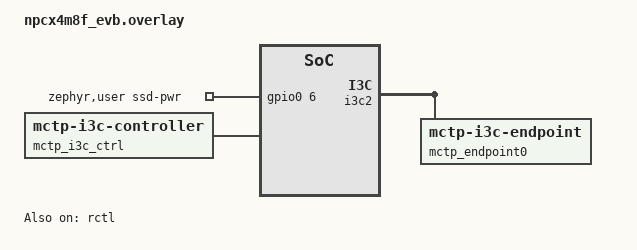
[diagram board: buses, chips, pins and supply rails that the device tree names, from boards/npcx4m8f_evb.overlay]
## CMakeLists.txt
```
cmake_minimum_required(VERSION 3.20.0)

find_package(Zephyr REQUIRED HINTS $ENV{ZEPHYR_BASE})
project(mctp_i3c_get_endpoint_id)

target_sources(app PRIVATE src/main.c)
target_sources(app PRIVATE src/mctp_ssd_power.c)
```

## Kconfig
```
# Copyright (c) 2026 Intel Corporation
# SPDX-License-Identifier: Apache-2.0

mainmenu "MCTP I3C bus discovery sample"

module = APP
module-str = app
source "subsys/logging/Kconfig.template.log_config"

source "Kconfig.zephyr"
```

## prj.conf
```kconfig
CONFIG_I3C=y
CONFIG_MCTP=y
CONFIG_MCTP_I3C_CONTROLLER=y

# Logging
CONFIG_LOG=y
CONFIG_APP_LOG_LEVEL_DBG=y
CONFIG_MCTP_LOG_LEVEL_DBG=y
CONFIG_LOG_BUFFER_SIZE=4096
```

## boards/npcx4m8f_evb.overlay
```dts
/*
 * Copyright (c) 2026 Intel Corporation
 *
 * SPDX-License-Identifier: Apache-2.0
 */

/ {
	aliases {
		ssd-i3c-bus = &i3c2;
		ssd-i3c-dev = &mctp_endpoint0;
	};

	zephyr,user {
		/* SSD power-enable GPIO (generic phandle, no LED binding needed) */
		ssd-pwr-gpios = <&gpio0 6 GPIO_ACTIVE_HIGH>;
	};

	mctp_i3c_ctrl: mctp_i3c_ctrl {
		compatible = "zephyr,mctp-i3c-controller";
		endpoints = <&mctp_endpoint0>;
		endpoint-ids = <11>; /* NVME_DEV_ENDPOINT_ID */
	};
};

&pcc {
	clock-frequency = <DT_FREQ_M(90)>; /* OFMCLK runs at 90MHz */
	core-prescaler = <3>; /* CORE_CLK runs at 30MHz */
	apb1-prescaler = <6>; /* APB1_CLK runs at 15MHz */
	apb2-prescaler = <6>; /* APB2_CLK runs at 15MHz */
	apb3-prescaler = <6>; /* APB3_CLK runs at 15MHz */
	apb4-prescaler = <3>; /* APB4_CLK runs at 30MHz */
};

&rctl {
	status = "okay";
};

&i3c2 {
	zephyr,deferred-init;
	status = "okay";
	i3c-scl-hz = <4000000>;
	i3c-od-scl-hz = <1330000>;
	pinctrl-0 = <&i3c3_sda_scl_gpf4_f5>;
	pinctrl-names = "default";

	bcr = <0x67>;

	mctp_endpoint0: mctp_endpoint0@d0fefff1fd10 {
		zephyr,deferred-init;
		compatible = "zephyr,mctp-i3c-endpoint";
		reg = <0x0 0x0000d0fe 0xfff1fd10>;
		status = "okay";
	};
};
```

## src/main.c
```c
/*
 * Copyright (c) 2026 Intel Corporation
 *
 * SPDX-License-Identifier: Apache-2.0
 */

#include <zephyr/kernel.h>
#include <zephyr/sys/printk.h>
#include <zephyr/logging/log.h>
#include <libmctp.h>
#include <libmctp-cmds.h>
#include <zephyr/pmci/mctp/mctp_i3c_controller.h>
#include <zephyr/logging/log.h>

#include "mctp_ssd_power.h"
LOG_MODULE_REGISTER(mctp_get_eid, CONFIG_APP_LOG_LEVEL);

#define MCTP_TAG_OWNER 1
#define MCTP_INSTANCE_ID 0

#define LINK_SETUP_DELAY_MS		500U
#define FSM_DELAY_MS			100U

/* How long the FSM waits for a response before advancing to the next state. */
#define MCTP_RESP_TIMEOUT_MS		1000U

/*
 * Get MCTP Version Support, "MCTP version number entry" selector.
 */
#define MCTP_GET_VERSION_BASE_SPEC	0xFF
#define MCTP_GET_VERSION_CONTROL	0x00
#define MCTP_GET_VERSION_PLDM		0x01

MCTP_I3C_CONTROLLER_DT_DEFINE(mctp_i3c_ctrl, DT_NODELABEL(mctp_i3c_ctrl));

static struct mctp *mctp_ctx;

/* Signalled by rx_message when the response the FSM is waiting for arrives. */
static K_SEM_DEFINE(resp_sem, 0, 1);

/* Control command code the FSM currently expects a response for. */
static uint8_t expected_cmd;

/* Get Version msg_type currently being queried (gives the response context). */
static uint8_t expected_version_msg_type;

/* Message types the endpoint advertised via Get Message Type Support. */
#define MAX_SUPPORTED_MSG_TYPES 16
static uint8_t supported_msg_types[MAX_SUPPORTED_MSG_TYPES];
static uint8_t num_supported_msg_types;

static bool msg_type_supported(uint8_t msg_type)
{
	for (uint8_t i = 0; i < num_supported_msg_types; i++) {
		if (supported_msg_types[i] == msg_type) {
			return true;
		}
	}
	return false;
}

/* Build the rq/d/inst byte for a new request, bumping the instance ID. */
static uint8_t next_rq_dgram_inst(void)
{
	static uint8_t instance_id;
	uint8_t rq_dgram_inst = MCTP_CTRL_HDR_FLAG_REQUEST |
		(instance_id & MCTP_CTRL_HDR_INSTANCE_ID_MASK);

	instance_id = (instance_id + 1U) & MCTP_CTRL_HDR_INSTANCE_ID_MASK;
	return rq_dgram_inst;
}

static void handle_get_endpoint_id_resp(uint8_t src_eid, const void *msg, size_t len)
{
	const struct mctp_ctrl_cmd_get_endpoint_id_resp *resp = msg;

	if (len < sizeof(*resp)) {
		LOG_ERR("Short Get Endpoint ID response from EID %u, len %zu",
			src_eid, len);
		return;
	}

	if (resp->completion_code != MCTP_CTRL_CC_SUCCESS) {
		LOG_ERR("Get Endpoint ID error from EID %u, cc 0x%02x",
			src_eid, resp->completion_code);
		return;
	}

	LOG_INF("EID %u: endpoint_id=%u, endpoint_type=0x%02x, medium=0x%02x",
		src_eid, resp->endpoint_id, resp->endpoint_type,
		resp->medium_specific);
}

/* Handles a header + completion-code only response (e.g. Discovery Notify). */
static void handle_empty_resp(const char *what, uint8_t src_eid, const void *msg, size_t len)
{
	const struct mctp_ctrl_cmd_empty_resp *resp = msg;

	if (len < sizeof(*resp)) {
		LOG_ERR("Short %s response from EID %u, len %zu", what, src_eid, len);
		return;
	}

	if (resp->completion_code != MCTP_CTRL_CC_SUCCESS) {
		LOG_ERR("%s error from EID %u, cc 0x%02x", what, src_eid,
			resp->completion_code);
		return;
	}

	LOG_INF("EID %u: %s success", src_eid, what);
}

static void handle_get_msg_type_resp(uint8_t src_eid, const void *msg, size_t len)
{
	const struct mctp_ctrl_cmd_get_types_resp *resp = msg;

	if (len < sizeof(*resp)) {
		LOG_ERR("Short Get Message Type response from EID %u, len %zu",
			src_eid, len);
		return;
	}

	if (resp->completion_code != MCTP_CTRL_CC_SUCCESS) {
		LOG_ERR("Get Message Type error from EID %u, cc 0x%02x",
			src_eid, resp->completion_code);
		return;
	}

	if (len < sizeof(*resp) + resp->type_count) {
		LOG_ERR("Truncated Get Message Type response from EID %u: %u types, len %zu",
			src_eid, resp->type_count, len);
		return;
	}

	num_supported_msg_types = 0;
	LOG_INF("EID %u: %u supported message type(s)", src_eid, resp->type_count);
	for (uint8_t i = 0; i < resp->type_count; i++) {
		LOG_INF("  msg_type[%u] = 0x%02x", i, resp->types[i]);
		if (num_supported_msg_types < MAX_SUPPORTED_MSG_TYPES) {
			supported_msg_types[num_supported_msg_types++] = resp->types[i];
		}
	}
}

static void handle_get_version_resp(uint8_t src_eid, const void *msg, size_t len)
{
	const struct mctp_ctrl_cmd_get_version_resp *resp = msg;

	/*
	 * An error response (e.g. "versions not supported") carries only the
	 * header + completion code, so validate that minimum before inspecting
	 * the completion code, and only require version_count on success.
	 */
	if (len < sizeof(resp->hdr) + sizeof(resp->completion_code)) {
		LOG_ERR("Short Get Version response from EID %u, len %zu",
			src_eid, len);
		return;
	}

	if (resp->completion_code == MCTP_CTRL_VERSIONS_NOT_SUPPORTED) {
		/*
		 * "Not supported" is expected when the queried message type was not advertised
		 * by Get Message Type Support
		 * (e.g. PLDM on an endpoint that only reports NVMe-MI)
		 */
		if (expected_version_msg_type != MCTP_GET_VERSION_BASE_SPEC &&
		    !msg_type_supported(expected_version_msg_type)) {
			LOG_WRN("EID %u: no version for msg_type 0x%02x not advertised",
				src_eid, expected_version_msg_type);
		} else {
			LOG_ERR("EID %u: msg_type 0x%02x reports no supported versions",
				src_eid, expected_version_msg_type);
		}
		return;
	}

	if (resp->completion_code != MCTP_CTRL_CC_SUCCESS) {
		LOG_ERR("Get Version error from EID %u, cc 0x%02x",
			src_eid, resp->completion_code);
		return;
	}

	if (len < sizeof(*resp) + (size_t)resp->version_count * sizeof(uint32_t)) {
		LOG_ERR("Truncated Get Version response from EID %u: %u versions, len %zu",
			src_eid, resp->version_count, len);
		return;
	}

	LOG_INF("EID %u: %u supported version(s)", src_eid, resp->version_count);
	for (uint8_t i = 0; i < resp->version_count; i++) {
		const uint8_t *v = (const uint8_t *)&resp->versions[i];

		/* Wire order: major, minor, update, alpha (BCD). DSP0236 sec. 12.6. */
		LOG_INF("  version[%u] = 0x%02x 0x%02x 0x%02x 0x%02x (major.minor.update.alpha)",
			i, v[0], v[1], v[2], v[3]);
	}
}

static void rx_message(uint8_t eid, bool tag_owner, uint8_t msg_tag, void *data, void *msg,
		       size_t len)
{
	const struct mctp_ctrl_msg_hdr *hdr = msg;

	LOG_HEXDUMP_DBG(msg, len, "MCTP response: ");

	if (len >= sizeof(*hdr) &&
	    hdr->ic_msg_type == MCTP_CTRL_HDR_MSG_TYPE &&
	    !(hdr->rq_dgram_inst & MCTP_CTRL_HDR_FLAG_REQUEST)) {
		switch (hdr->command_code) {
		case MCTP_CTRL_CMD_DISCOVERY_NOTIFY:
			handle_empty_resp("Discovery Notify", eid, msg, len);
			break;
		case MCTP_CTRL_CMD_GET_ENDPOINT_ID:
			handle_get_endpoint_id_resp(eid, msg, len);
			break;
		case MCTP_CTRL_CMD_GET_MESSAGE_TYPE_SUPPORT:
			handle_get_msg_type_resp(eid, msg, len);
			break;
		case MCTP_CTRL_CMD_GET_VERSION_SUPPORT:
			handle_get_version_resp(eid, msg, len);
			break;
		default:
			LOG_WRN("Unhandled control response cmd 0x%02x from EID %u",
				hdr->command_code, eid);
			break;
		}

		/* Wake the FSM if this is the response it is waiting for. */
		if (hdr->command_code == expected_cmd) {
			k_sem_give(&resp_sem);
		}
		return;
	}

	LOG_INF("Received message \"%s\" from endpoint %d to %d, msg_tag %d, len %zu",
		(char *)msg, eid, MCTP_INSTANCE_ID, msg_tag, len);
}

/* Sends a control request that carries only the 3-byte control header. */
static int send_ctrl_header_only(struct mctp *ctx, mctp_eid_t dest_eid,
				 uint8_t command_code, const char *what)
{
	struct mctp_ctrl_msg_hdr req = {
		.ic_msg_type = MCTP_CTRL_HDR_MSG_TYPE,
		.rq_dgram_inst = next_rq_dgram_inst(),
		.command_code = command_code,
	};
	int rc;

	rc = mctp_message_tx(ctx, dest_eid, true, 0U, &req, sizeof(req));
	if (rc != 0) {
		LOG_ERR("Failed to send %s to EID %u: %d", what, dest_eid, rc);
		return rc;
	}

	LOG_DBG("Sent %s to EID %u", what, dest_eid);
	return 0;
}

static int mctp_send_discovery_notify(struct mctp *ctx, mctp_eid_t dest_eid)
{
	return send_ctrl_header_only(ctx, dest_eid, MCTP_CTRL_CMD_DISCOVERY_NOTIFY,
				     "Discovery Notify");
}

static int mctp_send_get_endpoint_id(struct mctp *ctx, mctp_eid_t dest_eid)
{
	return send_ctrl_header_only(ctx, dest_eid, MCTP_CTRL_CMD_GET_ENDPOINT_ID,
				     "Get Endpoint ID");
}

static int mctp_send_get_msg_type_support(struct mctp *ctx, mctp_eid_t dest_eid)
{
	return send_ctrl_header_only(ctx, dest_eid,
				     MCTP_CTRL_CMD_GET_MESSAGE_TYPE_SUPPORT,
				     "Get Message Type Support");
}

static int mctp_send_get_version(struct mctp *ctx, mctp_eid_t dest_eid, uint8_t msg_type)
{
	struct mctp_ctrl_cmd_get_version_req req = {
		.hdr = {
			.ic_msg_type = MCTP_CTRL_HDR_MSG_TYPE,
			.rq_dgram_inst = next_rq_dgram_inst(),
			.command_code = MCTP_CTRL_CMD_GET_VERSION_SUPPORT,
		},
		.msg_type = msg_type,
	};
	int rc;

	/* Remember which type we asked about for the response handler. */
	expected_version_msg_type = msg_type;

	rc = mctp_message_tx(ctx, dest_eid, true, 0U, &req, sizeof(req));
	if (rc != 0) {
		LOG_ERR("Failed to send Get Version (msg_type 0x%02x) to EID %u: %d",
			msg_type, dest_eid, rc);
		return rc;
	}

	LOG_DBG("Sent Get Version (msg_type 0x%02x) to EID %u", msg_type, dest_eid);
	return 0;
}

/*
 * Discovery / enumeration FSM. Each state issues one MCTP control request and
 * waits (response-driven, with timeout) before advancing to the next.
 */
enum mctp_fsm_state {
	FSM_DISCOVERY_NOTIFY,
	FSM_GET_ENDPOINT_ID,
	FSM_GET_MSG_TYPE,
	FSM_GET_VERSION_BASE,
	FSM_GET_VERSION_CONTROL,
	FSM_GET_VERSION_PLDM,
	FSM_DONE,
};

static const char *fsm_state_name(enum mctp_fsm_state state)
{
	switch (state) {
	case FSM_DISCOVERY_NOTIFY:    return "Discovery Notify";
	case FSM_GET_ENDPOINT_ID:     return "Get Endpoint ID";
	case FSM_GET_MSG_TYPE:        return "Get Message Type Support";
	case FSM_GET_VERSION_BASE:    return "Get Version (base spec)";
	case FSM_GET_VERSION_CONTROL: return "Get Version (control)";
	case FSM_GET_VERSION_PLDM:    return "Get Version (PLDM)";
	default:                      return "Done";
	}
}

/* Issues the request for the given state and records the expected response. */
static int fsm_send(enum mctp_fsm_state state, struct mctp *ctx)
{
	switch (state) {
	case FSM_DISCOVERY_NOTIFY:
		expected_cmd = MCTP_CTRL_CMD_DISCOVERY_NOTIFY;
		/* Discovery Notify is always directed at the bus owner. */
		return mctp_send_discovery_notify(ctx, MCTP_EID_NULL);
	case FSM_GET_ENDPOINT_ID:
		expected_cmd = MCTP_CTRL_CMD_GET_ENDPOINT_ID;
		return mctp_send_get_endpoint_id(ctx, MCTP_EID_NULL);
	case FSM_GET_MSG_TYPE:
		expected_cmd = MCTP_CTRL_CMD_GET_MESSAGE_TYPE_SUPPORT;
		return mctp_send_get_msg_type_support(ctx, MCTP_EID_NULL);
	case FSM_GET_VERSION_BASE:
		expected_cmd = MCTP_CTRL_CMD_GET_VERSION_SUPPORT;
		return mctp_send_get_version(ctx, MCTP_EID_NULL, MCTP_GET_VERSION_BASE_SPEC);
	case FSM_GET_VERSION_CONTROL:
		expected_cmd = MCTP_CTRL_CMD_GET_VERSION_SUPPORT;
		return mctp_send_get_version(ctx, MCTP_EID_NULL, MCTP_GET_VERSION_CONTROL);
	case FSM_GET_VERSION_PLDM:
		expected_cmd = MCTP_CTRL_CMD_GET_VERSION_SUPPORT;
		return mctp_send_get_version(ctx, MCTP_EID_NULL, MCTP_GET_VERSION_PLDM);
	default:
		return -EINVAL;
	}
}

static void run_mctp_fsm(struct mctp *ctx)
{
	for (enum mctp_fsm_state state = FSM_GET_ENDPOINT_ID;
	     state != FSM_DONE; state++) {
		int rc;

		LOG_INF("FSM -> %s", fsm_state_name(state));

		/* Drop any stale signal before issuing the next request. */
		k_sem_reset(&resp_sem);

		k_msleep(FSM_DELAY_MS);
		rc = fsm_send(state, ctx);
		if (rc != 0) {
			LOG_WRN("%s: send failed (%d), advancing",
				fsm_state_name(state), rc);
			continue;
		}

		if (k_sem_take(&resp_sem, K_MSEC(MCTP_RESP_TIMEOUT_MS)) != 0) {
			LOG_WRN("%s: no response within %u ms, advancing",
				fsm_state_name(state), MCTP_RESP_TIMEOUT_MS);
		}
	}

	LOG_INF("MCTP FSM complete");
}

int main(void)
{
	LOG_INF("MCTP Get Endpoint ID Sample");

	mctp_ssd_power_init();
	mctp_i3c_initialization();

	/* Initialize MCTP instance (transport-specific init needed here) */
	mctp_ctx = mctp_init();
	if (!mctp_ctx) {
		LOG_ERR("mctp_init() failed");
		return -1;
	}

	__ASSERT_NO_MSG(mctp_ctx != NULL);
	mctp_register_bus(mctp_ctx, &mctp_i3c_ctrl.binding, MCTP_INSTANCE_ID);
	mctp_set_rx_all(mctp_ctx, rx_message, NULL);

	/*
	 * Discovery requests are addressed to the null EID: the endpoints have
	 * not been assigned an EID yet, and the I3C binding routes a null-EID
	 * packet to the first endpoint descriptor.
	 */
	LOG_INF("Running MCTP discovery FSM (requests addressed to null EID)");
	run_mctp_fsm(mctp_ctx);

	k_msleep(5000);
	return 0;
}
```

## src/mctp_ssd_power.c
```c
/*
 * Copyright (c) 2026 Intel Corporation
 *
 * SPDX-License-Identifier: Apache-2.0
 */

#include <zephyr/types.h>
#include <zephyr/kernel.h>
#include <zephyr/drivers/gpio.h>
#include <zephyr/pmci/mctp/mctp_i3c_controller.h>
#include <zephyr/logging/log.h>
LOG_MODULE_DECLARE(mctp_get_eid, CONFIG_APP_LOG_LEVEL);

/* Bus enumeration if successful takes around 10 ms
 * but SSD low power exit may take up-to 100 ms
 */
#define MAX_I3C_INIT_RETRIES	3U
#define I3C_INIT_DELAY_RETRY_MS	40U
#define SET_MWL_DELAY_MS	700U

/* SSD GPIO power (generic phandle under /zephyr,user) */
#define SSD_PWR_NODE DT_PATH(zephyr_user)
#if DT_NODE_HAS_PROP(SSD_PWR_NODE, ssd_pwr_gpios)
static const struct gpio_dt_spec ssd_pwr_gpio = GPIO_DT_SPEC_GET(SSD_PWR_NODE, ssd_pwr_gpios);
#endif /* DT_NODE_HAS_PROP(SSD_PWR_NODE, ssd_pwr_gpios) */

#define I3C_DEV_BUS			DT_ALIAS(ssd_i3c_bus)
#define MCTP_ENDPOINT0_NODE		DT_NODELABEL(mctp_endpoint0)
static const struct device *const i3c_bus_dev = DEVICE_DT_GET(I3C_DEV_BUS);


void mctp_ssd_power_init(void)
{
#if DT_NODE_HAS_PROP(SSD_PWR_NODE, ssd_pwr_gpios)
	int ret;

	LOG_DBG("Initialize SSD power GPIO %d", ssd_pwr_gpio.pin);
	if (!gpio_is_ready_dt(&ssd_pwr_gpio)) {
		return;
	}

	ret = gpio_pin_configure_dt(&ssd_pwr_gpio, GPIO_OUTPUT);
	if (ret) {
		LOG_ERR("Unable to config %d: %d", ssd_pwr_gpio.pin, ret);
		return;
	}

	ret = gpio_pin_set_dt(&ssd_pwr_gpio, 0);
	if (ret) {
		LOG_ERR("Unable to initialize %d", ssd_pwr_gpio.pin);
		return;
	}
#endif
}

void mctp_i3c_initialization(void)
{
	if (DT_PROP_OR(I3C_DEV_BUS, zephyr_deferred_init, 0U) == 0) {
		LOG_WRN("I3C deferred not needed, skipping initialization");
		return;
	}

	LOG_DBG("Deferring I3C device init");

	bool loaded = false;
	int retries = 0;
	int ret = 0;
	struct i3c_config_controller ctrl_config;

	k_msleep(I3C_INIT_DELAY_RETRY_MS);

	do {
		loaded = device_is_ready(i3c_bus_dev);
		if (loaded) {
			LOG_INF("I3C device is ready");
			break;
		}

		LOG_DBG("Device init attempt %d", (retries+1));
		device_init(i3c_bus_dev);
		k_msleep(I3C_INIT_DELAY_RETRY_MS);
		retries++;
	} while (retries < MAX_I3C_INIT_RETRIES);

	LOG_INF("I3C driver loaded: %d  retries: %d", loaded, retries);

	ret = i3c_config_get(i3c_bus_dev, I3C_CONFIG_CONTROLLER, &ctrl_config);
	if (ret) {
		LOG_ERR("Unable to get I3C config %d", ret);
	} else {
		LOG_INF("I3C bus configured to %d Hz", ctrl_config.scl.i3c);
	}

	const struct device *dev = DEVICE_DT_GET_OR_NULL(MCTP_ENDPOINT0_NODE);

	if (dev) {
		device_init(dev);
	} else {
		LOG_ERR("Unable to get MCTP endpoint device");
	}
}
```

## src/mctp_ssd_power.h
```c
/*
 * Copyright (c) 2026 Intel Corporation
 *
 * SPDX-License-Identifier: Apache-2.0
 */

#ifndef __MCTP_SSD_POWER_H__
#define __MCTP_SSD_POWER_H__

#ifdef __cplusplus
extern "C" {
#endif

/* Powers up and initializes the SSD endpoint(s) before MCTP/I3C bring-up. */
void mctp_ssd_power_init(void);

/* Initializes the I3C controller and enumerates the bus for MCTP. */
void mctp_i3c_initialization(void);

#ifdef __cplusplus
}
#endif

#endif /* __MCTP_SSD_POWER_H__ */
```
